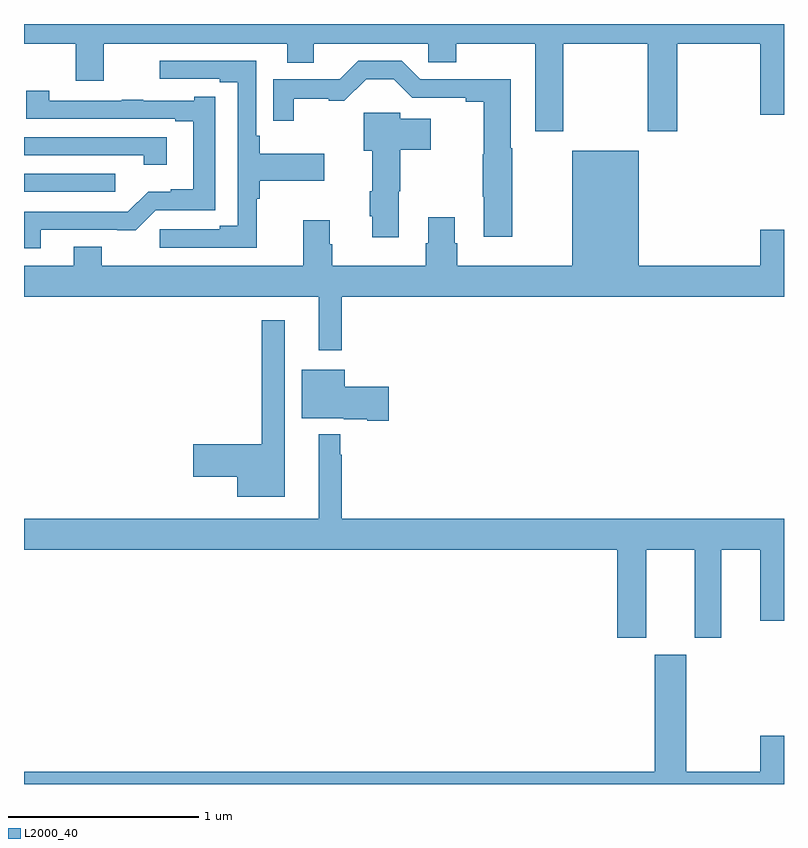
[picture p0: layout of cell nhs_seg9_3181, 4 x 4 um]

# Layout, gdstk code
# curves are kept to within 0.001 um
import gdstk
lib = gdstk.Library(unit=1e-6, precision=1e-09)
def R(c, l, rs):  # rectangles x0, y0, x1, y1
    for r in rs: c.add(gdstk.rectangle(r[:2], r[2:], *l))
def P(c, l, *ps):  # polygons
    for p in ps: c.add(gdstk.Polygon(p, *l))
L2000_40 = (2000, 40)

nhs_seg9_3181 = lib.new_cell('nhs_seg9_3181')
R(nhs_seg9_3181, L2000_40, [(293,1219.617,293.479,1219.713)])
P(nhs_seg9_3181, L2000_40, [(295.839,1220.396),(296.284,1220.396),(296.284,1219.935),(296.439,1219.935),(296.439,1220.396),(296.876,1220.396),(296.876,1220.022),(297,1220.022),(297,1220.5),(293,1220.5),(293,1220.396),(293.272,1220.396),(293.272,1220.202),(293.419,1220.202),(293.419,1220.396),(294.386,1220.396),(294.386,1220.297),(294.526,1220.297),(294.526,1220.396),(295.128,1220.396),(295.128,1220.298),(295.275,1220.298),(295.275,1220.396),(295.691,1220.396),(295.691,1219.935),(295.839,1219.935)],
  [(294.225,1219.58),(294.242,1219.58),(294.242,1219.676),(294.58,1219.676),(294.58,1219.816),(294.242,1219.816),(294.242,1219.912),(294.222,1219.912),(294.222,1220.307),(293.715,1220.307),(293.715,1220.211),(294.029,1220.211),(294.029,1220.193),(294.126,1220.193),(294.126,1219.439),(294.029,1219.439),(294.029,1219.419),(293.715,1219.419),(293.715,1219.323),(294.225,1219.323)],
  [(295.569,1219.847),(295.561,1219.847),(295.561,1220.21),(295.325,1220.21),(295.325,1220.208),(295.086,1220.208),(294.987,1220.307),(294.759,1220.307),(294.662,1220.21),(294.312,1220.21),(294.312,1219.992),(294.421,1219.992),(294.421,1220.107),(294.605,1220.107),(294.605,1220.095),(294.686,1220.095),(294.801,1220.21),(294.946,1220.21),(295.044,1220.112),(295.325,1220.112),(295.325,1220.092),(295.421,1220.092),(295.421,1219.815),(295.414,1219.815),(295.414,1219.592),(295.421,1219.592),(295.421,1219.38),(295.569,1219.38)],
  [(293.089,1219.416),(293.588,1219.415),(293.694,1219.521),(294.007,1219.521),(294.007,1220.116),(293.895,1220.116),(293.895,1220.097),(293.627,1220.097),(293.627,1220.102),(293.515,1220.102),(293.515,1220.097),(293.133,1220.097),(293.133,1220.149),(293.013,1220.149),(293.013,1220.001),(293.795,1220.001),(293.795,1219.989),(293.891,1219.989),(293.891,1219.63),(293.772,1219.63),(293.772,1219.618),(293.653,1219.618),(293.547,1219.512),(293,1219.512),(293,1219.319),(293.089,1219.319)],
  [(294.973,1219.619),(294.981,1219.619),(294.981,1219.837),(295.141,1219.837),(295.141,1220.002),(294.981,1220.002),(294.981,1220.032),(294.788,1220.032),(294.788,1219.832),(294.833,1219.832),(294.833,1219.619),(294.821,1219.619),(294.821,1219.489),(294.833,1219.489),(294.833,1219.377),(294.973,1219.377)],
  [(293.752,1219.905),(293,1219.905),(293,1219.809),(293.631,1219.809),(293.631,1219.758),(293.752,1219.758)],
  [(294.673,1219.064),(297,1219.064),(297,1219.417),(296.876,1219.417),(296.876,1219.228),(296.236,1219.228),(296.236,1219.834),(295.886,1219.834),(295.886,1219.228),(295.28,1219.228),(295.28,1219.347),(295.267,1219.347),(295.267,1219.483),(295.127,1219.483),(295.127,1219.347),(295.115,1219.347),(295.115,1219.228),(294.623,1219.228),(294.623,1219.34),(294.61,1219.34),(294.61,1219.468),(294.47,1219.468),(294.47,1219.228),(293.409,1219.228),(293.409,1219.327),(293.261,1219.327),(293.261,1219.228),(293,1219.228),(293,1219.064),(294.551,1219.064),(294.551,1218.783),(294.673,1218.783)],
  [(294.373,1218.94),(294.252,1218.94),(294.252,1218.287),(293.892,1218.287),(293.892,1218.116),(294.122,1218.116),(294.122,1218.011),(294.373,1218.011)],
  [(294.919,1218.591),(294.688,1218.591),(294.688,1218.679),(294.461,1218.679),(294.461,1218.425),(294.684,1218.425),(294.684,1218.419),(294.806,1218.419),(294.806,1218.413),(294.919,1218.413)],
  [(296.275,1217.732),(296.531,1217.732),(296.531,1217.271),(296.671,1217.271),(296.671,1217.732),(296.876,1217.732),(296.876,1217.358),(297,1217.358),(297,1217.896),(294.673,1217.896),(294.673,1218.233),(294.665,1218.233),(294.665,1218.34),(294.551,1218.34),(294.551,1217.896),(293,1217.896),(293,1217.732),(296.123,1217.732),(296.123,1217.271),(296.275,1217.271)],
  [(297,1216.753),(296.876,1216.753),(296.876,1216.564),(296.485,1216.564),(296.485,1217.179),(296.321,1217.179),(296.321,1216.564),(293,1216.564),(293,1216.5),(297,1216.5)])

lib.write_gds('nhs_seg9_3181.gds')
